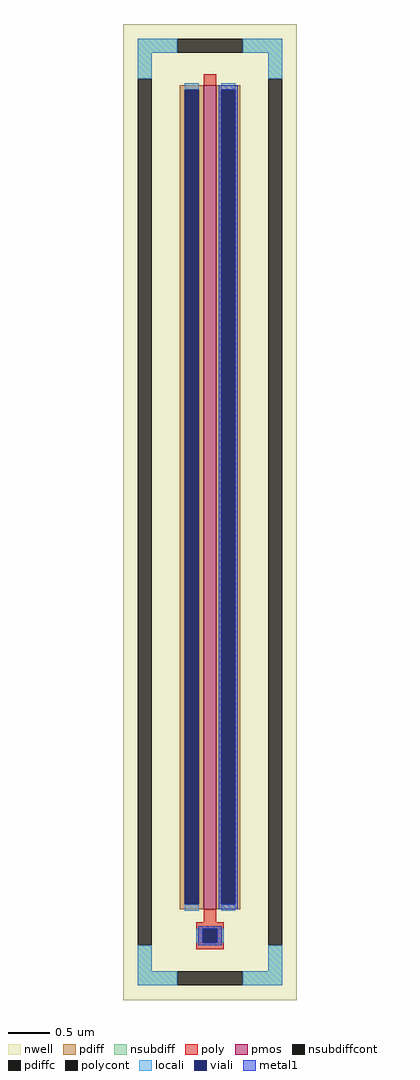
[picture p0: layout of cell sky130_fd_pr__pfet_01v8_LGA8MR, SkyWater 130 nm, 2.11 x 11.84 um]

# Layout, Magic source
magic
tech sky130A
magscale 1 2
<< nwell >>
rect -211 -1184 211 1184
<< pmos >>
rect -15 -964 15 1036
<< pdiff >>
rect -73 1024 -15 1036
rect -73 -952 -61 1024
rect -27 -952 -15 1024
rect -73 -964 -15 -952
rect 15 1024 73 1036
rect 15 -952 27 1024
rect 61 -952 73 1024
rect 15 -964 73 -952
<< pdiffc >>
rect -61 -952 -27 1024
rect 27 -952 61 1024
<< nsubdiff >>
rect -175 1114 -79 1148
rect 79 1114 175 1148
rect -175 1051 -141 1114
rect 141 1051 175 1114
rect -175 -1114 -141 -1051
rect 141 -1114 175 -1051
rect -175 -1148 -79 -1114
rect 79 -1148 175 -1114
<< nsubdiffcont >>
rect -79 1114 79 1148
rect -175 -1051 -141 1051
rect 141 -1051 175 1051
rect -79 -1148 79 -1114
<< poly >>
rect -15 1036 15 1062
rect -15 -995 15 -964
rect -33 -1011 33 -995
rect -33 -1045 -17 -1011
rect 17 -1045 33 -1011
rect -33 -1061 33 -1045
<< polycont >>
rect -17 -1045 17 -1011
<< locali >>
rect -175 1114 -79 1148
rect 79 1114 175 1148
rect -175 1051 -141 1114
rect 141 1051 175 1114
rect -61 1024 -27 1040
rect -61 -968 -27 -952
rect 27 1024 61 1040
rect 27 -968 61 -952
rect -33 -1045 -17 -1011
rect 17 -1045 33 -1011
rect -175 -1114 -141 -1051
rect 141 -1114 175 -1051
rect -175 -1148 -79 -1114
rect 79 -1148 175 -1114
<< viali >>
rect -61 -952 -27 1024
rect 27 -952 61 1024
rect -17 -1045 17 -1011
<< metal1 >>
rect 21 1024 67 1036
rect 21 -952 27 1024
rect 61 -952 67 1024
rect 21 -964 67 -952
rect -29 -1011 29 -1005
rect -29 -1045 -17 -1011
rect 17 -1045 29 -1011
rect -29 -1051 29 -1045
<< properties >>
string FIXED_BBOX -158 -1131 158 1131
string gencell sky130_fd_pr__pfet_01v8
string library sky130
string parameters w 10.0 l 0.15 m 1 nf 1 diffcov 100 polycov 100 guard 1 glc 1 grc 1 gtc 1 gbc 1 tbcov 100 rlcov 100 topc 0 botc 1 poverlap 0 doverlap 1 lmin 0.15 wmin 0.42 compatible {sky130_fd_pr__pfet_01v8  sky130_fd_pr__pfet_01v8_lvt sky130_fd_pr__pfet_01v8_hvt  sky130_fd_pr__pfet_g5v0d10v5} full_metal 1 viasrc 100 viadrn 100 viagate 100 viagb 0 viagr 0 viagl 0 viagt 0
<< end >>
